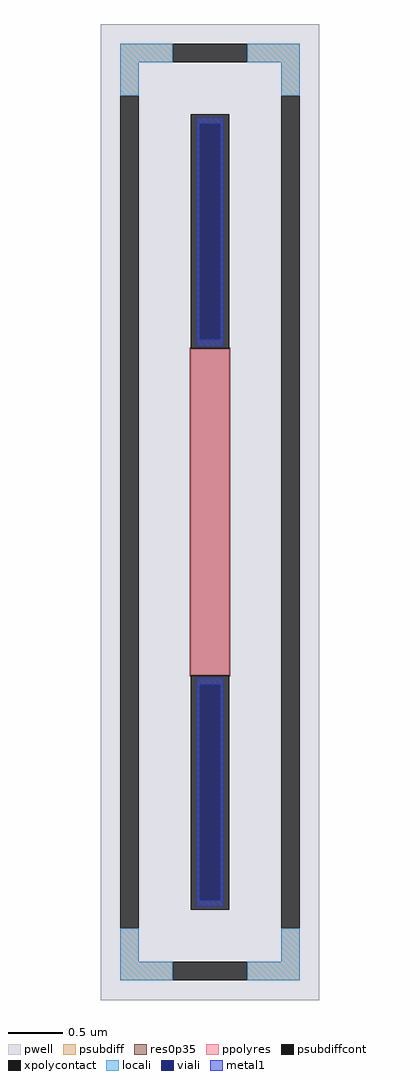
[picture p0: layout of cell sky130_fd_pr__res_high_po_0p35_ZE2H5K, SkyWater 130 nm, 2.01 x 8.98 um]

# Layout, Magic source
magic
tech sky130B
magscale 1 2
<< pwell >>
rect -201 -898 201 898
<< psubdiff >>
rect -165 828 -69 862
rect 69 828 165 862
rect -165 766 -131 828
rect 131 766 165 828
rect -165 -828 -131 -766
rect 131 -828 165 -766
rect -165 -862 -69 -828
rect 69 -862 165 -828
<< psubdiffcont >>
rect -69 828 69 862
rect -165 -766 -131 766
rect 131 -766 165 766
rect -69 -862 69 -828
<< xpolycontact >>
rect -35 300 35 732
rect -35 -732 35 -300
<< ppolyres >>
rect -35 -300 35 300
<< locali >>
rect -165 828 -69 862
rect 69 828 165 862
rect -165 766 -131 828
rect 131 766 165 828
rect -165 -828 -131 -766
rect 131 -828 165 -766
rect -165 -862 -69 -828
rect 69 -862 165 -828
<< viali >>
rect -19 317 19 714
rect -19 -714 19 -317
<< metal1 >>
rect -25 714 25 726
rect -25 317 -19 714
rect 19 317 25 714
rect -25 305 25 317
rect -25 -317 25 -305
rect -25 -714 -19 -317
rect 19 -714 25 -317
rect -25 -726 25 -714
<< res0p35 >>
rect -37 -302 37 302
<< properties >>
string FIXED_BBOX -148 -845 148 845
string gencell sky130_fd_pr__res_high_po_0p35
string library sky130
string parameters w 0.350 l 3 m 1 nx 1 wmin 0.350 lmin 0.50 rho 319.8 val 3.854k dummy 0 dw 0.0 term 194.82 sterm 0.0 caplen 0 guard 1 glc 1 grc 1 gtc 1 gbc 1 compatible {sky130_fd_pr__res_high_po_0p35  sky130_fd_pr__res_high_po_0p69 sky130_fd_pr__res_high_po_1p41  sky130_fd_pr__res_high_po_2p85 sky130_fd_pr__res_high_po_5p73} full_metal 1 wmax 0.350 vias 1 n_guard 0 hv_guard 0 viagb 0 viagt 0 viagl 0 viagr 0
<< end >>
